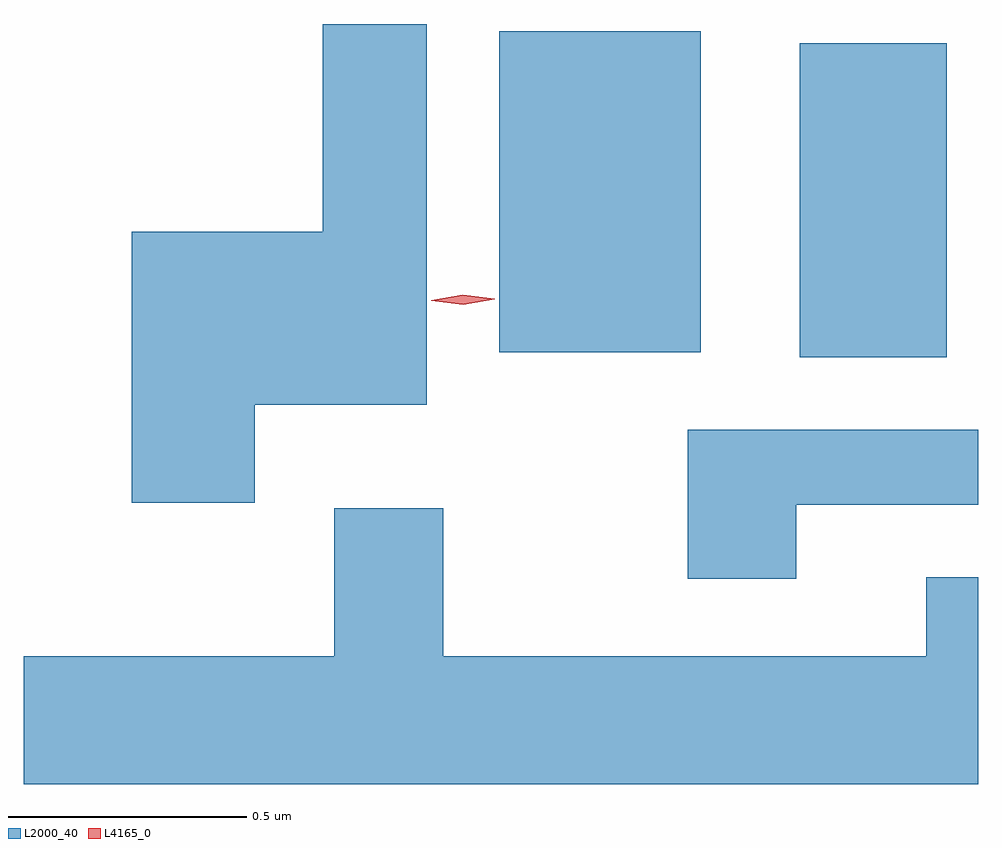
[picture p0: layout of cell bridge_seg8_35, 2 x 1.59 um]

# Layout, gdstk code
import gdstk
lib = gdstk.Library(unit=1e-6, precision=1e-09)
def R(c, l, rs):  # rectangles x0, y0, x1, y1
    for r in rs: c.add(gdstk.rectangle(r[:2], r[2:], *l))
def P(c, l, *ps):  # polygons
    for p in ps: c.add(gdstk.Polygon(p, *l))
L2000_40 = (2000, 40)
L4165_0 = (4165, 0)

bridge_seg8_35 = lib.new_cell('bridge_seg8_35')
R(bridge_seg8_35, L2000_40, [(1504.636,1883.931,1504.944,1884.589), (1504.006,1883.941,1504.429,1884.614)])
P(bridge_seg8_35, L2000_40, [(1503.494,1883.831),(1503.854,1883.831),(1503.854,1884.629),(1503.636,1884.629),(1503.636,1884.194),(1503.236,1884.194),(1503.236,1883.626),(1503.494,1883.626)],
  [(1504.629,1883.621),(1505.01,1883.621),(1505.01,1883.779),(1504.401,1883.779),(1504.401,1883.466),(1504.629,1883.466)],
  [(1505.01,1883.469),(1504.901,1883.469),(1504.901,1883.304),(1503.889,1883.304),(1503.889,1883.614),(1503.661,1883.614),(1503.661,1883.304),(1503.01,1883.304),(1503.01,1883.036),(1505.01,1883.036)])
P(bridge_seg8_35, L4165_0, [(1503.931,1884.041),(1503.864,1884.049),(1503.864,1884.05),(1503.864,1884.05),(1503.93,1884.061),(1503.997,1884.053),(1503.997,1884.053),(1503.997,1884.052)])

lib.write_gds('bridge_seg8_35.gds')
